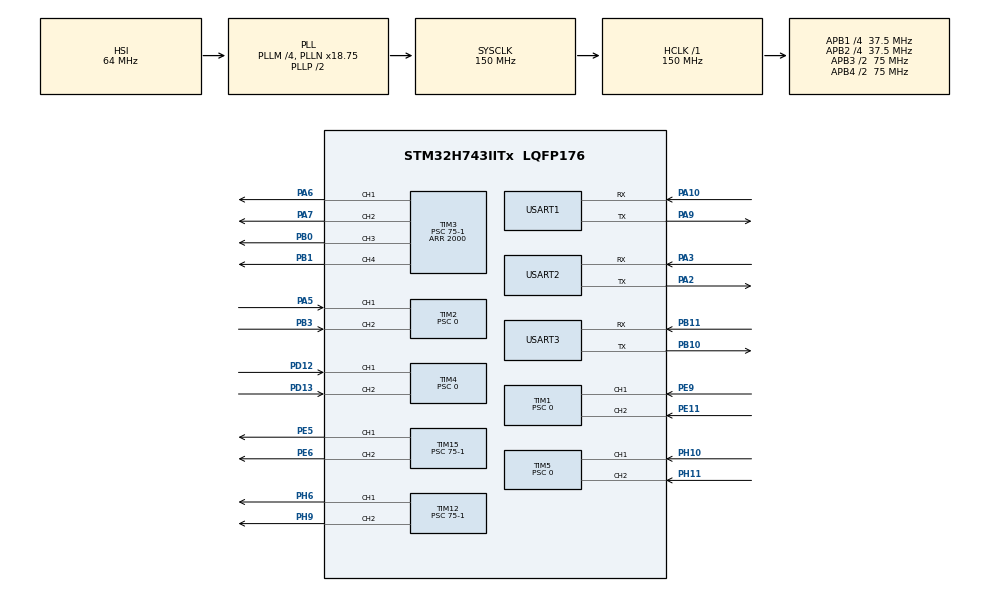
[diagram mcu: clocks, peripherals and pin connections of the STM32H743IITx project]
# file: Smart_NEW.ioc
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CORTEX_M7.CPU_DCache=Enabled
CORTEX_M7.CPU_ICache=Enabled
CORTEX_M7.default_mode_Activation=1
Mcu.Family=STM32H7
Mcu.Name=STM32H743IITx
Mcu.Package=LQFP176
NVIC.PriorityGroup=NVIC_PRIORITYGROUP_4
NVIC.TIM6_DAC_IRQn=true\:0\:0\:false\:false\:true\:true\:true\:true
NVIC.USART2_IRQn=true\:0\:0\:false\:false\:true\:true\:true\:true
NVIC.USART3_IRQn=true\:0\:0\:false\:false\:true\:true\:true\:true
PA10.Mode=Asynchronous
PA10.Signal=USART1_RX
PA13\ (JTMS/SWDIO).Mode=Serial_Wire
PA13\ (JTMS/SWDIO).Signal=DEBUG_JTMS-SWDIO
PA14\ (JTCK/SWCLK).Mode=Serial_Wire
PA14\ (JTCK/SWCLK).Signal=DEBUG_JTCK-SWCLK
PA2.Mode=Asynchronous
PA2.Signal=USART2_TX
PA3.Mode=Asynchronous
PA3.Signal=USART2_RX
PA5.Signal=S_TIM2_CH1_ETR
PA6.Signal=S_TIM3_CH1
PA7.Signal=S_TIM3_CH2
PA9.Mode=Asynchronous
PA9.Signal=USART1_TX
PB0.Signal=S_TIM3_CH3
PB1.Signal=S_TIM3_CH4
PB10.Mode=Asynchronous
PB10.Signal=USART3_TX
PB11.Mode=Asynchronous
PB11.Signal=USART3_RX
PB3\ (JTDO/TRACESWO).Signal=S_TIM2_CH2
PC14-OSC32_IN\ (OSC32_IN).Mode=LSE-External-Oscillator
PC14-OSC32_IN\ (OSC32_IN).Signal=RCC_OSC32_IN
PC15-OSC32_OUT\ (OSC32_OUT).Mode=LSE-External-Oscillator
PC15-OSC32_OUT\ (OSC32_OUT).Signal=RCC_OSC32_OUT
PD12.Signal=S_TIM4_CH1
PD13.Signal=S_TIM4_CH2
PE11.Signal=S_TIM1_CH2
PE5.Signal=S_TIM15_CH1
PE6.Signal=S_TIM15_CH2
PE9.Signal=S_TIM1_CH1
PH0-OSC_IN\ (PH0).Mode=HSE-External-Oscillator
PH0-OSC_IN\ (PH0).Signal=RCC_OSC_IN
PH1-OSC_OUT\ (PH1).Mode=HSE-External-Oscillator
PH1-OSC_OUT\ (PH1).Signal=RCC_OSC_OUT
PH10.Signal=S_TIM5_CH1
PH11.Signal=S_TIM5_CH2
PH6.Signal=S_TIM12_CH1
PH9.Signal=S_TIM12_CH2
ProjectManager.HeapSize=0x200
ProjectManager.StackSize=0x400
ProjectManager.TargetToolchain=MDK-ARM V5.32
RCC.ADCFreq_Value=129000000
RCC.APB1Freq_Value=37500000
RCC.APB2Freq_Value=37500000
RCC.APB3Freq_Value=75000000
RCC.APB4Freq_Value=75000000
RCC.CortexFreq_Value=150000000
RCC.D1PPRE=RCC_APB3_DIV2
RCC.D2PPRE1=RCC_APB1_DIV4
RCC.D2PPRE2=RCC_APB2_DIV4
RCC.D3PPRE=RCC_APB4_DIV2
RCC.DIVM1=4
RCC.DIVN1=18
RCC.HCLKFreq_Value=150000000
RCC.PLL2FRACN=0
RCC.PLL3FRACN=0
RCC.PLLFRACN=6144
RCC.SYSCLKFreq_VALUE=150000000
RCC.SYSCLKSource=RCC_SYSCLKSOURCE_PLLCLK
RCC.USBFreq_Value=150000000
SH.S_TIM12_CH1.0=TIM12_CH1,PWM Generation1 CH1
SH.S_TIM12_CH2.0=TIM12_CH2,PWM Generation2 CH2
SH.S_TIM15_CH1.0=TIM15_CH1,PWM Generation1 CH1
SH.S_TIM15_CH2.0=TIM15_CH2,PWM Generation2 CH2
SH.S_TIM1_CH1.0=TIM1_CH1,Encoder_Interface
SH.S_TIM1_CH2.0=TIM1_CH2,Encoder_Interface
SH.S_TIM2_CH1_ETR.0=TIM2_CH1,Encoder_Interface
SH.S_TIM2_CH2.0=TIM2_CH2,Encoder_Interface
SH.S_TIM3_CH1.0=TIM3_CH1,PWM Generation1 CH1
SH.S_TIM3_CH2.0=TIM3_CH2,PWM Generation2 CH2
SH.S_TIM3_CH3.0=TIM3_CH3,PWM Generation3 CH3
SH.S_TIM3_CH4.0=TIM3_CH4,PWM Generation4 CH4
SH.S_TIM4_CH1.0=TIM4_CH1,Encoder_Interface
SH.S_TIM4_CH2.0=TIM4_CH2,Encoder_Interface
SH.S_TIM5_CH1.0=TIM5_CH1,Encoder_Interface
SH.S_TIM5_CH2.0=TIM5_CH2,Encoder_Interface
TIM1.EncoderMode=TIM_ENCODERMODE_TI12
TIM1.Period=2000
TIM1.Prescaler=0
TIM12.Channel-PWM\ Generation1\ CH1=TIM_CHANNEL_1
TIM12.Channel-PWM\ Generation2\ CH2=TIM_CHANNEL_2
TIM12.Period=2000
TIM12.Prescaler=75-1
TIM15.Channel-PWM\ Generation1\ CH1=TIM_CHANNEL_1
TIM15.Channel-PWM\ Generation2\ CH2=TIM_CHANNEL_2
TIM15.Period=2000
TIM15.Prescaler=75-1
TIM2.EncoderMode=TIM_ENCODERMODE_TI12
TIM2.Period=2000
TIM2.Prescaler=0
TIM3.Channel-PWM\ Generation1\ CH1=TIM_CHANNEL_1
TIM3.Channel-PWM\ Generation2\ CH2=TIM_CHANNEL_2
TIM3.Channel-PWM\ Generation3\ CH3=TIM_CHANNEL_3
TIM3.Channel-PWM\ Generation4\ CH4=TIM_CHANNEL_4
TIM3.Period=2000
TIM3.Prescaler=75-1
TIM4.EncoderMode=TIM_ENCODERMODE_TI12
TIM4.Period=2000
TIM4.Prescaler=0
TIM5.EncoderMode=TIM_ENCODERMODE_TI12
TIM5.Period=2000
TIM5.Prescaler=0
TIM6.Period=999
TIM6.Prescaler=120-1
USART1.VirtualMode-Asynchronous=VM_ASYNC
USART2.VirtualMode-Asynchronous=VM_ASYNC
USART3.VirtualMode-Asynchronous=VM_ASYNC
VP_TIM12_VS_ClockSourceINT.Mode=Internal
VP_TIM15_VS_ClockSourceINT.Mode=Internal
VP_TIM3_VS_ClockSourceINT.Mode=Internal
VP_TIM6_VS_ClockSourceINT.Mode=Enable_Timer
board=custom

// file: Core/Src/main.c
/* USER CODE BEGIN Header */
/**
 ******************************************************************************
 * @file           : main.c
 * @brief          : Main program body
 ******************************************************************************
 * @attention
 *
 * Copyright (c) 2024 STMicroelectronics.
 * All rights reserved.
 *
 * This software is licensed under terms that can be found in the LICENSE file
 * in the root directory of this software component.
 * If no LICENSE file comes with this software, it is provided AS-IS.
 *
 ******************************************************************************
 */
/* USER CODE END Header */
#include "main.h"

#include "tim.h"
#include "usart.h"
#include "gpio.h"

/* USER CODE BEGIN Includes */
#include "control.h"
#include "usart1.h"
#include "hc.h"
#include "i2cnew.h"
#include "delay.h"
#include "stdio.h"
#include "sh3001.h"
#include "imu.h"
#include "stm32h7xx_it.h"
/* USER CODE END Includes */

void SystemClock_Config(void);
static void MPU_Config(void);

/* USER CODE BEGIN 0 */
static double YAW_STEP = 180;
/* USER CODE END 0 */

int main(void)
{

  /* MPU Configuration--------------------------------------------------------*/
  MPU_Config();

  /* Enable the CPU Cache */

  /* Enable I-Cache---------------------------------------------------------*/
  SCB_EnableICache();

  /* Enable D-Cache---------------------------------------------------------*/
  SCB_EnableDCache();

  /* MCU Configuration--------------------------------------------------------*/

  /* Reset of all peripherals, Initializes the Flash interface and the Systick. */
  HAL_Init();

  /* Configure the system clock */
  SystemClock_Config();

  /* Initialize all configured peripherals */
  MX_GPIO_Init();
  MX_TIM1_Init();
  MX_TIM2_Init();
  MX_TIM3_Init();
  MX_TIM4_Init();
  MX_TIM5_Init();
  MX_TIM6_Init();
  MX_TIM12_Init();
  MX_TIM15_Init();
  MX_USART2_UART_Init();
  MX_USART3_UART_Init();
  MX_USART1_UART_Init();
  /* USER CODE BEGIN 2 */
  All_Init();

  short acc_data[3];  /* 加速度传感器原始数据 */
  short gyro_data[3]; /* 陀螺仪原始数据 */

  float p[4] = {2, 2, 2, 2};
  float i[4] = {1, 1, 1, 1};
  float d[4] = {0.8, 0.8, 0.8, 0.8};
  PID_init(p, i, d);
  Set_target_val(0, 20);
  Set_target_val(1, 20);
  Set_target_val(2, 20);
  Set_target_val(3, 20);
  HAL_UART_Receive_IT(&huart2, &data_buffer_L[data_index_L], 1);
  HAL_UART_Receive_IT(&huart3, &data_buffer_R[data_index_R], 1);

  eulerian_angles_t e_angles;
  // usart_init(115200);
  /* USER CODE END 2 */

  /* Infinite loop */
  /* USER CODE BEGIN WHILE */
  while (1)
  {
    // /* USER CODE END WHILE */
    double YAW1;
    // /* USER CODE BEGIN 3 */

    // /* 读取传感器数据 */

    // sh3001_get_imu_compdata(acc_data, gyro_data);

    // imu_data_calibration(&gyro_data[0], &gyro_data[1], &gyro_data[2],
    //                      &acc_data[0], &acc_data[1], &acc_data[2]);

    // e_angles = imu_get_eulerian_angles(gyro_data[0], gyro_data[1], gyro_data[2],
    //                                    acc_data[0], acc_data[1], acc_data[2]);

    // YAW1 =e_angles.yaw * YAW_STEP;
    // printf("Roll: %.2f, Pitch: %.2f, Yaw: %.8f\r\n", e_angles.roll, e_angles.pitch, e_angles.yaw);
    // printf("yaw_test: %.2f\r\n", yaw_test);
    // printf("yawmmm: %.15f\r\n", YAW1);

    // delay_ms(500);
     //Run();
    printf("Distance_L: %d, Distance_R: %d\r\n", Distance_L, Distance_R);
  }

  /* USER CODE END 3 */
}

void SystemClock_Config(void)
{
  RCC_OscInitTypeDef RCC_OscInitStruct = {0};
  RCC_ClkInitTypeDef RCC_ClkInitStruct = {0};

  /** Supply configuration update enable
   */
  HAL_PWREx_ConfigSupply(PWR_LDO_SUPPLY);

  /** Configure the main internal regulator output voltage
   */
  __HAL_PWR_VOLTAGESCALING_CONFIG(PWR_REGULATOR_VOLTAGE_SCALE3);

  while (!__HAL_PWR_GET_FLAG(PWR_FLAG_VOSRDY))
  {
  }

  /** Initializes the RCC Oscillators according to the specified parameters
   * in the RCC_OscInitTypeDef structure.
   */
  RCC_OscInitStruct.OscillatorType = RCC_OSCILLATORTYPE_HSI;
  RCC_OscInitStruct.HSIState = RCC_HSI_DIV1;
  RCC_OscInitStruct.HSICalibrationValue = RCC_HSICALIBRATION_DEFAULT;
  RCC_OscInitStruct.PLL.PLLState = RCC_PLL_ON;
  RCC_OscInitStruct.PLL.PLLSource = RCC_PLLSOURCE_HSI;
  RCC_OscInitStruct.PLL.PLLM = 4;
  RCC_OscInitStruct.PLL.PLLN = 18;
  RCC_OscInitStruct.PLL.PLLP = 2;
  RCC_OscInitStruct.PLL.PLLQ = 2;
  RCC_OscInitStruct.PLL.PLLR = 2;
  RCC_OscInitStruct.PLL.PLLRGE = RCC_PLL1VCIRANGE_3;
  RCC_OscInitStruct.PLL.PLLVCOSEL = RCC_PLL1VCOWIDE;
  RCC_OscInitStruct.PLL.PLLFRACN = 6144;
  if (HAL_RCC_OscConfig(&RCC_OscInitStruct) != HAL_OK)
  {
    Error_Handler();
  }

  /** Initializes the CPU, AHB and APB buses clocks
   */
  RCC_ClkInitStruct.ClockType = RCC_CLOCKTYPE_HCLK | RCC_CLOCKTYPE_SYSCLK | RCC_CLOCKTYPE_PCLK1 | RCC_CLOCKTYPE_PCLK2 | RCC_CLOCKTYPE_D3PCLK1 | RCC_CLOCKTYPE_D1PCLK1;
  RCC_ClkInitStruct.SYSCLKSource = RCC_SYSCLKSOURCE_PLLCLK;
  RCC_ClkInitStruct.SYSCLKDivider = RCC_SYSCLK_DIV1;
  RCC_ClkInitStruct.AHBCLKDivider = RCC_HCLK_DIV1;
  RCC_ClkInitStruct.APB3CLKDivider = RCC_APB3_DIV2;
  RCC_ClkInitStruct.APB1CLKDivider = RCC_APB1_DIV4;
  RCC_ClkInitStruct.APB2CLKDivider = RCC_APB2_DIV4;
  RCC_ClkInitStruct.APB4CLKDivider = RCC_APB4_DIV2;

  if (HAL_RCC_ClockConfig(&RCC_ClkInitStruct, FLASH_LATENCY_3) != HAL_OK)
  {
    Error_Handler();
  }
}

/* MPU Configuration */

void MPU_Config(void)
{
  MPU_Region_InitTypeDef MPU_InitStruct = {0};

  /* Disables the MPU */
  HAL_MPU_Disable();

  /** Initializes and configures the Region and the memory to be protected
   */
  MPU_InitStruct.Enable = MPU_REGION_ENABLE;
  MPU_InitStruct.Number = MPU_REGION_NUMBER0;
  MPU_InitStruct.BaseAddress = 0x0;
  MPU_InitStruct.Size = MPU_REGION_SIZE_4GB;
  MPU_InitStruct.SubRegionDisable = 0x87;
  MPU_InitStruct.TypeExtField = MPU_TEX_LEVEL0;
  MPU_InitStruct.AccessPermission = MPU_REGION_NO_ACCESS;
  MPU_InitStruct.DisableExec = MPU_INSTRUCTION_ACCESS_DISABLE;
  MPU_InitStruct.IsShareable = MPU_ACCESS_SHAREABLE;
  MPU_InitStruct.IsCacheable = MPU_ACCESS_NOT_CACHEABLE;
  MPU_InitStruct.IsBufferable = MPU_ACCESS_NOT_BUFFERABLE;

  HAL_MPU_ConfigRegion(&MPU_InitStruct);
  /* Enables the MPU */
  HAL_MPU_Enable(MPU_PRIVILEGED_DEFAULT);
}

void Error_Handler(void)
{
  __disable_irq();
  while (1)
  {
  }
}
